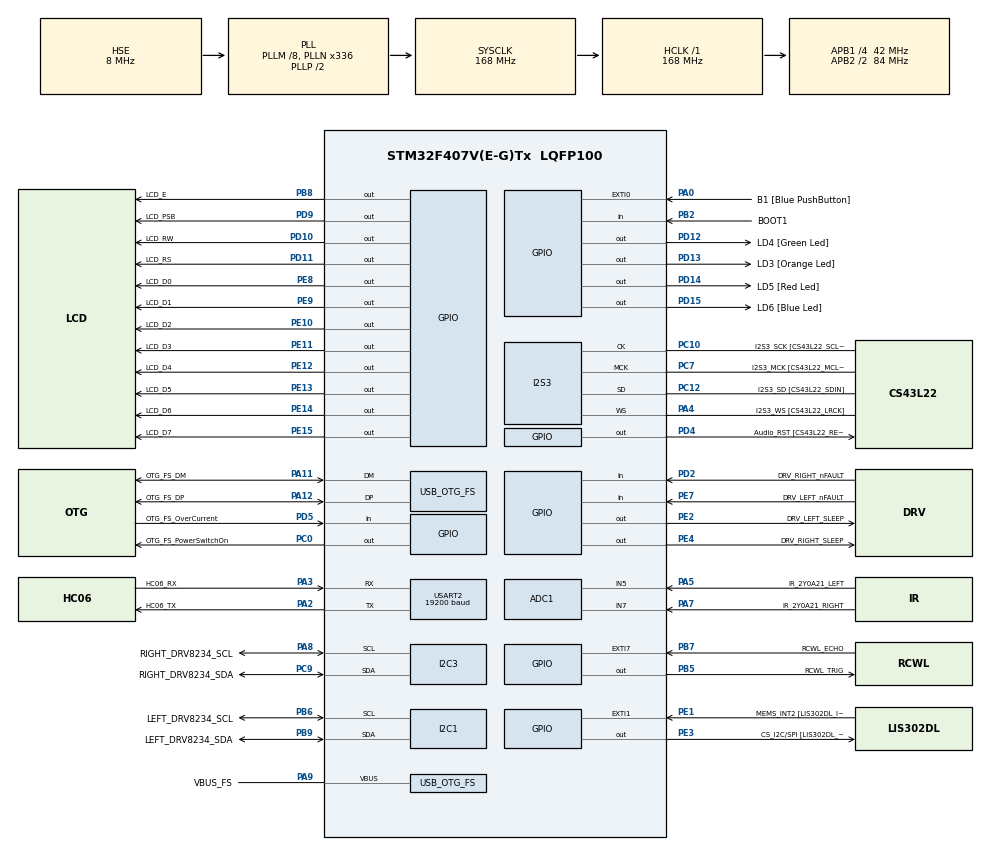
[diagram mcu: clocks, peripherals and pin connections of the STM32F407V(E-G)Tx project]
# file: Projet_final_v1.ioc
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ADC1.Channel-0\#ChannelRegularConversion=ADC_CHANNEL_5
ADC1.Channel-1\#ChannelRegularConversion=ADC_CHANNEL_7
ADC1.NbrOfConversion=2
ADC1.NbrOfConversionFlag=1
ADC1.Rank-0\#ChannelRegularConversion=1
ADC1.Rank-1\#ChannelRegularConversion=2
ADC1.SamplingTime-0\#ChannelRegularConversion=ADC_SAMPLETIME_480CYCLES
ADC1.SamplingTime-1\#ChannelRegularConversion=ADC_SAMPLETIME_480CYCLES
ADC1.master=1
FREERTOS.Tasks01=defaultTask,24,128,StartDefaultTask,Default,NULL,Dynamic,NULL,NULL
FREERTOS.configTOTAL_HEAP_SIZE=16384
FREERTOS.configUSE_NEWLIB_REENTRANT=1
I2S3.AudioFreq-Half_Duplex_Master=I2S_AUDIOFREQ_96K
I2S3.ErrorAudioFreq=-2.34 %
I2S3.ErrorAudioFreq-Half_Duplex_Master=0.8 %
I2S3.FullDuplexMode=I2S_FULLDUPLEXMODE_DISABLE
I2S3.Instance=SPI$Index
I2S3.RealAudioFreq=93.75 KHz
I2S3.RealAudioFreq-Half_Duplex_Master=96.774 KHz
I2S3.VirtualMode=I2S_MODE_MASTER
Mcu.Family=STM32F4
Mcu.Name=STM32F407V(E-G)Tx
Mcu.Package=LQFP100
NVIC.EXTI9_5_IRQn=true\:5\:0\:false\:false\:true\:false\:true\:true\:true
NVIC.OTG_FS_IRQn=true\:5\:0\:false\:false\:true\:true\:true\:true\:true
NVIC.PriorityGroup=NVIC_PRIORITYGROUP_4
NVIC.TIM6_DAC_IRQn=true\:15\:0\:false\:false\:true\:false\:false\:true\:true
NVIC.TimeBase=TIM6_DAC_IRQn
NVIC.TimeBaseIP=TIM6
NVIC.USART2_IRQn=true\:5\:0\:false\:false\:true\:true\:true\:true\:true
PA0-WKUP.GPIO_Label=B1 [Blue PushButton]
PA0-WKUP.GPIO_ModeDefaultEXTI=GPIO_MODE_EVT_RISING
PA0-WKUP.GPIO_PuPd=GPIO_NOPULL
PA0-WKUP.Signal=GPXTI0
PA10.GPIO_Label=OTG_FS_ID
PA10.GPIO_Mode=GPIO_MODE_AF_PP
PA10.GPIO_PuPd=GPIO_NOPULL
PA10.GPIO_Speed=GPIO_SPEED_FREQ_LOW
PA10.Signal=USB_OTG_FS_ID
PA11.GPIO_Label=OTG_FS_DM
PA11.GPIO_Mode=GPIO_MODE_AF_PP
PA11.GPIO_PuPd=GPIO_NOPULL
PA11.GPIO_Speed=GPIO_SPEED_FREQ_LOW
PA11.Mode=Device_Only
PA11.Signal=USB_OTG_FS_DM
PA12.GPIO_Label=OTG_FS_DP
PA12.GPIO_Mode=GPIO_MODE_AF_PP
PA12.GPIO_PuPd=GPIO_NOPULL
PA12.GPIO_Speed=GPIO_SPEED_FREQ_LOW
PA12.Mode=Device_Only
PA12.Signal=USB_OTG_FS_DP
PA13.GPIO_Label=SWDIO
PA13.Mode=Serial_Wire
PA13.Signal=SYS_JTMS-SWDIO
PA14.GPIO_Label=SWCLK
PA14.Mode=Serial_Wire
PA14.Signal=SYS_JTCK-SWCLK
PA2.GPIO_Label=HC06_TX
PA2.Mode=Asynchronous
PA2.Signal=USART2_TX
PA3.GPIO_Label=HC06_RX
PA3.Mode=Asynchronous
PA3.Signal=USART2_RX
PA4.GPIO_Label=I2S3_WS [CS43L22_LRCK]
PA4.GPIO_Mode=GPIO_MODE_AF_PP
PA4.GPIO_PuPd=GPIO_NOPULL
PA4.GPIO_Speed=GPIO_SPEED_FREQ_LOW
PA4.Mode=Half_Duplex_Master
PA4.Signal=I2S3_WS
PA5.GPIO_Label=IR_2Y0A21_LEFT
PA5.Signal=ADCx_IN5
PA7.GPIO_Label=IR_2Y0A21_RIGHT
PA7.Signal=ADCx_IN7
PA8.GPIO_Label=RIGHT_DRV8234_SCL
PA8.GPIO_Pu=GPIO_PULLUP
PA8.GPIO_Speed=GPIO_SPEED_FREQ_LOW
PA8.Mode=I2C
PA8.Signal=I2C3_SCL
PA9.GPIO_Label=VBUS_FS
PA9.GPIO_Mode=GPIO_MODE_INPUT
PA9.GPIO_PuPd=GPIO_NOPULL
PA9.Mode=Activate_VBUS
PA9.Signal=USB_OTG_FS_VBUS
PB10.GPIO_Label=CLK_IN [MP45DT02_CLK]
PB10.GPIO_Mode=GPIO_MODE_AF_PP
PB10.GPIO_PuPd=GPIO_NOPULL
PB10.GPIO_Speed=GPIO_SPEED_FREQ_LOW
PB10.Signal=I2S2_CK
PB2.GPIO_Label=BOOT1
PB2.GPIO_Mode=GPIO_MODE_INPUT
PB2.GPIO_PuPd=GPIO_NOPULL
PB2.Signal=GPIO_Input
PB3.GPIO_Label=SWO
PB3.Signal=SYS_JTDO-SWO
PB5.GPIO_Label=RCWL_TRIG
PB5.Signal=GPIO_Output
PB6.GPIO_Label=LEFT_DRV8234_SCL
PB6.GPIO_Mode=GPIO_MODE_AF_OD
PB6.GPIO_Pu=GPIO_PULLUP
PB6.GPIO_PuPd=GPIO_NOPULL
PB6.GPIO_Speed=GPIO_SPEED_FREQ_LOW
PB6.Mode=I2C
PB6.Signal=I2C1_SCL
PB7.GPIO_Label=RCWL_ECHO
PB7.GPIO_ModeDefaultEXTI=GPIO_MODE_IT_RISING_FALLING
PB7.Signal=GPXTI7
PB8.GPIO_Label=LCD_E
PB8.Signal=GPIO_Output
PB9.GPIO_Label=LEFT_DRV8234_SDA
PB9.GPIO_Mode=GPIO_MODE_AF_OD
PB9.GPIO_Pu=GPIO_PULLUP
PB9.GPIO_PuPd=GPIO_NOPULL
PB9.GPIO_Speed=GPIO_SPEED_FREQ_LOW
PB9.Mode=I2C
PB9.Signal=I2C1_SDA
PC0.GPIO_Label=OTG_FS_PowerSwitchOn
PC0.GPIO_PuPd=GPIO_NOPULL
PC0.GPIO_Speed=GPIO_SPEED_FREQ_LOW
PC0.PinState=GPIO_PIN_SET
PC0.Signal=GPIO_Output
PC10.GPIO_Label=I2S3_SCK [CS43L22_SCLK]
PC10.GPIO_Mode=GPIO_MODE_AF_PP
PC10.GPIO_PuPd=GPIO_NOPULL
PC10.GPIO_Speed=GPIO_SPEED_FREQ_LOW
PC10.Mode=Half_Duplex_Master
PC10.Signal=I2S3_CK
PC12.GPIO_Label=I2S3_SD [CS43L22_SDIN]
PC12.GPIO_Mode=GPIO_MODE_AF_PP
PC12.GPIO_PuPd=GPIO_NOPULL
PC12.GPIO_Speed=GPIO_SPEED_FREQ_LOW
PC12.Mode=Half_Duplex_Master
PC12.Signal=I2S3_SD
PC14-OSC32_IN.GPIO_Label=PC14-OSC32_IN
PC14-OSC32_IN.Mode=LSE-External-Oscillator
PC14-OSC32_IN.Signal=RCC_OSC32_IN
PC15-OSC32_OUT.GPIO_Label=PC15-OSC32_OUT
PC15-OSC32_OUT.Mode=LSE-External-Oscillator
PC15-OSC32_OUT.Signal=RCC_OSC32_OUT
PC3.GPIO_Label=PDM_OUT [MP45DT02_DOUT]
PC3.GPIO_Mode=GPIO_MODE_AF_PP
PC3.GPIO_PuPd=GPIO_NOPULL
PC3.GPIO_Speed=GPIO_SPEED_FREQ_LOW
PC3.Signal=I2S2_SD
PC7.GPIO_Label=I2S3_MCK [CS43L22_MCLK]
PC7.GPIO_Mode=GPIO_MODE_AF_PP
PC7.GPIO_PuPd=GPIO_NOPULL
PC7.GPIO_Speed=GPIO_SPEED_FREQ_LOW
PC7.Mode=Master_Clock_Activated
PC7.Signal=I2S3_MCK
PC9.GPIO_Label=RIGHT_DRV8234_SDA
PC9.GPIO_Pu=GPIO_PULLUP
PC9.GPIO_Speed=GPIO_SPEED_FREQ_LOW
PC9.Mode=I2C
PC9.Signal=I2C3_SDA
PD10.GPIO_Label=LCD_RW
PD10.Signal=GPIO_Output
PD11.GPIO_Label=LCD_RS
PD11.Signal=GPIO_Output
PD12.GPIO_Label=LD4 [Green Led]
PD12.GPIO_PuPd=GPIO_NOPULL
PD12.GPIO_Speed=GPIO_SPEED_FREQ_LOW
PD12.Signal=GPIO_Output
PD13.GPIO_Label=LD3 [Orange Led]
PD13.GPIO_PuPd=GPIO_NOPULL
PD13.GPIO_Speed=GPIO_SPEED_FREQ_LOW
PD13.Signal=GPIO_Output
PD14.GPIO_Label=LD5 [Red Led]
PD14.GPIO_PuPd=GPIO_NOPULL
PD14.GPIO_Speed=GPIO_SPEED_FREQ_LOW
PD14.Signal=GPIO_Output
PD15.GPIO_Label=LD6 [Blue Led]
PD15.GPIO_PuPd=GPIO_NOPULL
PD15.GPIO_Speed=GPIO_SPEED_FREQ_LOW
PD15.Signal=GPIO_Output
PD2.GPIO_Label=DRV_RIGHT_nFAULT
PD2.Signal=GPIO_Input
PD4.GPIO_Label=Audio_RST [CS43L22_RESET]
PD4.GPIO_PuPd=GPIO_NOPULL
PD4.GPIO_Speed=GPIO_SPEED_FREQ_LOW
PD4.Signal=GPIO_Output
PD5.GPIO_Label=OTG_FS_OverCurrent
PD5.GPIO_Mode=GPIO_MODE_INPUT
PD5.GPIO_PuPd=GPIO_NOPULL
PD5.Signal=GPIO_Input
PD9.GPIO_Label=LCD_PSB
PD9.PinState=GPIO_PIN_SET
PD9.Signal=GPIO_Output
PE1.GPIO_Label=MEMS_INT2 [LIS302DL_INT2]
PE1.GPIO_ModeDefaultEXTI=GPIO_MODE_EVT_RISING
PE1.GPIO_PuPd=GPIO_NOPULL
PE1.Signal=GPXTI1
PE10.GPIO_Label=LCD_D2
PE10.Signal=GPIO_Output
PE11.GPIO_Label=LCD_D3
PE11.Signal=GPIO_Output
PE12.GPIO_Label=LCD_D4
PE12.Signal=GPIO_Output
PE13.GPIO_Label=LCD_D5
PE13.Signal=GPIO_Output
PE14.GPIO_Label=LCD_D6
PE14.Signal=GPIO_Output
PE15.GPIO_Label=LCD_D7
PE15.Signal=GPIO_Output
PE2.GPIO_Label=DRV_LEFT_SLEEP
PE2.Signal=GPIO_Output
PE3.GPIO_Label=CS_I2C/SPI [LIS302DL_CS_I2C/SPI]
PE3.GPIO_PuPd=GPIO_NOPULL
PE3.GPIO_Speed=GPIO_SPEED_FREQ_LOW
PE3.Signal=GPIO_Output
PE4.GPIO_Label=DRV_RIGHT_SLEEP
PE4.Signal=GPIO_Output
PE7.GPIO_Label=DRV_LEFT_nFAULT
PE7.Signal=GPIO_Input
PE8.GPIO_Label=LCD_D0
PE8.Signal=GPIO_Output
PE9.GPIO_Label=LCD_D1
PE9.Signal=GPIO_Output
PH0-OSC_IN.GPIO_Label=PH0-OSC_IN
PH0-OSC_IN.Mode=HSE-External-Oscillator
PH0-OSC_IN.Signal=RCC_OSC_IN
PH1-OSC_OUT.GPIO_Label=PH1-OSC_OUT
PH1-OSC_OUT.Mode=HSE-External-Oscillator
PH1-OSC_OUT.Signal=RCC_OSC_OUT
ProjectManager.HeapSize=0x200
ProjectManager.StackSize=0x400
ProjectManager.TargetToolchain=STM32CubeIDE
RCC.48MHZClocksFreq_Value=48000000
RCC.AHBFreq_Value=168000000
RCC.APB1CLKDivider=RCC_HCLK_DIV4
RCC.APB1Freq_Value=42000000
RCC.APB1TimFreq_Value=84000000
RCC.APB2CLKDivider=RCC_HCLK_DIV2
RCC.APB2Freq_Value=84000000
RCC.APB2TimFreq_Value=168000000
RCC.CortexFreq_Value=168000000
RCC.HCLKFreq_Value=168000000
RCC.HSE_VALUE=8000000
RCC.HSI_VALUE=16000000
RCC.PLLM=8
RCC.PLLN=336
RCC.PLLQ=7
RCC.SYSCLKFreq_VALUE=168000000
RCC.SYSCLKSource=RCC_SYSCLKSOURCE_PLLCLK
RCC.VCOOutputFreq_Value=336000000
SH.ADCx_IN5.0=ADC1_IN5,IN5
SH.ADCx_IN7.0=ADC1_IN7,IN7
TIM5.Prescaler=83
USART2.BaudRate=19200
USART2.VirtualMode=VM_ASYNC
USB_DEVICE.CLASS_NAME_FS=CDC
USB_DEVICE.VirtualMode-CDC_FS=Cdc
USB_DEVICE.VirtualModeFS=Cdc_FS
USB_OTG_FS.VirtualMode=Device_Only
VP_FREERTOS_VS_CMSIS_V2.Mode=CMSIS_V2
VP_SYS_VS_tim6.Mode=TIM6
VP_TIM5_VS_ClockSourceINT.Mode=Internal
VP_USB_DEVICE_VS_USB_DEVICE_CDC_FS.Mode=CDC_FS
board=STM32F407G-DISC1

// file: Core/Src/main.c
/* USER CODE BEGIN Header */
/**
  ******************************************************************************
  * @file           : main.c
  * @brief          : Main program body
  ******************************************************************************
  * @attention
  *
  * Copyright (c) 2026 STMicroelectronics.
  * All rights reserved.
  *
  * This software is licensed under terms that can be found in the LICENSE file
  * in the root directory of this software component.
  * If no LICENSE file comes with this software, it is provided AS-IS.
  *
  ******************************************************************************
  */
/* USER CODE END Header */
#include "main.h"
#include "cmsis_os.h"
#include "usb_device.h"

/* USER CODE BEGIN Includes */
#include "vcp.h"
#include "vehicle_motors.h"
#include "uart_frame_rx.h"
#include "vehicle_tasks.h"
#include "rcwl1601.h"

/* USER CODE END Includes */

ADC_HandleTypeDef hadc1;

I2C_HandleTypeDef hi2c1;
I2C_HandleTypeDef hi2c3;

I2S_HandleTypeDef hi2s3;

TIM_HandleTypeDef htim5;

UART_HandleTypeDef huart2;

/* Definitions for defaultTask */
osThreadId_t defaultTaskHandle;
const osThreadAttr_t defaultTask_attributes = {
  .name = "defaultTask",
  .stack_size = 128 * 4,
  .priority = (osPriority_t) osPriorityNormal,
};
/* USER CODE BEGIN PV */

extern RCWL1601_Handle_t hrcwl;		// pour le ultrason

/* USER CODE END PV */

void SystemClock_Config(void);
static void MX_GPIO_Init(void);
static void MX_I2C1_Init(void);
static void MX_I2S3_Init(void);
static void MX_USART2_UART_Init(void);
static void MX_I2C3_Init(void);
static void MX_ADC1_Init(void);
static void MX_TIM5_Init(void);
void StartDefaultTask(void *argument);

int main(void)
{

  /* MCU Configuration--------------------------------------------------------*/

  /* Reset of all peripherals, Initializes the Flash interface and the Systick. */
  HAL_Init();

  /* Configure the system clock */
  SystemClock_Config();

  /* Initialize all configured peripherals */
  MX_GPIO_Init();
  MX_I2C1_Init();
  MX_I2S3_Init();
  MX_USART2_UART_Init();
  MX_I2C3_Init();
  MX_ADC1_Init();
  MX_TIM5_Init();
  /* USER CODE BEGIN 2 */
  HAL_Delay(1000);

  /* Si tu veux garder le VCP/USB actif pour le debug */
  MX_USB_DEVICE_Init();

  VehicleMotors_Init();
  VehicleMotors_AllCoast();

  UartFrameRx_Start();

  /* USER CODE END 2 */

  /* Init scheduler */
  osKernelInitialize();

  /* Create the thread(s) */
  /* creation of defaultTask */
  defaultTaskHandle = osThreadNew(StartDefaultTask, NULL, &defaultTask_attributes);

  /* USER CODE BEGIN RTOS_THREADS */
  /* add threads, ... */

  VehicleTasks_Create();

  /* USER CODE END RTOS_THREADS */

  /* Start scheduler */
  osKernelStart();

  /* We should never get here as control is now taken by the scheduler */

  /* Infinite loop */
  /* USER CODE BEGIN WHILE */
  while (1)
  {
	  //allo
    /* USER CODE END WHILE */

  }
}

void SystemClock_Config(void)
{
  RCC_OscInitTypeDef RCC_OscInitStruct = {0};
  RCC_ClkInitTypeDef RCC_ClkInitStruct = {0};

  /** Configure the main internal regulator output voltage
  */
  __HAL_RCC_PWR_CLK_ENABLE();
  __HAL_PWR_VOLTAGESCALING_CONFIG(PWR_REGULATOR_VOLTAGE_SCALE1);

  /** Initializes the RCC Oscillators according to the specified parameters
  * in the RCC_OscInitTypeDef structure.
  */
  RCC_OscInitStruct.OscillatorType = RCC_OSCILLATORTYPE_HSE;
  RCC_OscInitStruct.HSEState = RCC_HSE_ON;
  RCC_OscInitStruct.PLL.PLLState = RCC_PLL_ON;
  RCC_OscInitStruct.PLL.PLLSource = RCC_PLLSOURCE_HSE;
  RCC_OscInitStruct.PLL.PLLM = 8;
  RCC_OscInitStruct.PLL.PLLN = 336;
  RCC_OscInitStruct.PLL.PLLP = RCC_PLLP_DIV2;
  RCC_OscInitStruct.PLL.PLLQ = 7;
  if (HAL_RCC_OscConfig(&RCC_OscInitStruct) != HAL_OK)
  {
    Error_Handler();
  }

  /** Initializes the CPU, AHB and APB buses clocks
  */
  RCC_ClkInitStruct.ClockType = RCC_CLOCKTYPE_HCLK|RCC_CLOCKTYPE_SYSCLK
                              |RCC_CLOCKTYPE_PCLK1|RCC_CLOCKTYPE_PCLK2;
  RCC_ClkInitStruct.SYSCLKSource = RCC_SYSCLKSOURCE_PLLCLK;
  RCC_ClkInitStruct.AHBCLKDivider = RCC_SYSCLK_DIV1;
  RCC_ClkInitStruct.APB1CLKDivider = RCC_HCLK_DIV4;
  RCC_ClkInitStruct.APB2CLKDivider = RCC_HCLK_DIV2;

  if (HAL_RCC_ClockConfig(&RCC_ClkInitStruct, FLASH_LATENCY_5) != HAL_OK)
  {
    Error_Handler();
  }
}

static void MX_ADC1_Init(void)
{

  ADC_ChannelConfTypeDef sConfig = {0};

  /** Configure the global features of the ADC (Clock, Resolution, Data Alignment and number of conversion)
  */
  hadc1.Instance = ADC1;
  hadc1.Init.ClockPrescaler = ADC_CLOCK_SYNC_PCLK_DIV4;
  hadc1.Init.Resolution = ADC_RESOLUTION_12B;
  hadc1.Init.ScanConvMode = ENABLE;
  hadc1.Init.ContinuousConvMode = DISABLE;
  hadc1.Init.DiscontinuousConvMode = DISABLE;
  hadc1.Init.ExternalTrigConvEdge = ADC_EXTERNALTRIGCONVEDGE_NONE;
  hadc1.Init.ExternalTrigConv = ADC_SOFTWARE_START;
  hadc1.Init.DataAlign = ADC_DATAALIGN_RIGHT;
  hadc1.Init.NbrOfConversion = 2;
  hadc1.Init.DMAContinuousRequests = DISABLE;
  hadc1.Init.EOCSelection = ADC_EOC_SINGLE_CONV;
  if (HAL_ADC_Init(&hadc1) != HAL_OK)
  {
    Error_Handler();
  }

  /** Configure for the selected ADC regular channel its corresponding rank in the sequencer and its sample time.
  */
  sConfig.Channel = ADC_CHANNEL_5;
  sConfig.Rank = 1;
  sConfig.SamplingTime = ADC_SAMPLETIME_480CYCLES;
  if (HAL_ADC_ConfigChannel(&hadc1, &sConfig) != HAL_OK)
  {
    Error_Handler();
  }

  /** Configure for the selected ADC regular channel its corresponding rank in the sequencer and its sample time.
  */
  sConfig.Channel = ADC_CHANNEL_7;
  sConfig.Rank = 2;
  if (HAL_ADC_ConfigChannel(&hadc1, &sConfig) != HAL_OK)
  {
    Error_Handler();
  }

}

static void MX_I2C1_Init(void)
{

  hi2c1.Instance = I2C1;
  hi2c1.Init.ClockSpeed = 100000;
  hi2c1.Init.DutyCycle = I2C_DUTYCYCLE_2;
  hi2c1.Init.OwnAddress1 = 0;
  hi2c1.Init.AddressingMode = I2C_ADDRESSINGMODE_7BIT;
  hi2c1.Init.DualAddressMode = I2C_DUALADDRESS_DISABLE;
  hi2c1.Init.OwnAddress2 = 0;
  hi2c1.Init.GeneralCallMode = I2C_GENERALCALL_DISABLE;
  hi2c1.Init.NoStretchMode = I2C_NOSTRETCH_DISABLE;
  if (HAL_I2C_Init(&hi2c1) != HAL_OK)
  {
    Error_Handler();
  }

}

static void MX_I2C3_Init(void)
{

  hi2c3.Instance = I2C3;
  hi2c3.Init.ClockSpeed = 100000;
  hi2c3.Init.DutyCycle = I2C_DUTYCYCLE_2;
  hi2c3.Init.OwnAddress1 = 0;
  hi2c3.Init.AddressingMode = I2C_ADDRESSINGMODE_7BIT;
  hi2c3.Init.DualAddressMode = I2C_DUALADDRESS_DISABLE;
  hi2c3.Init.OwnAddress2 = 0;
  hi2c3.Init.GeneralCallMode = I2C_GENERALCALL_DISABLE;
  hi2c3.Init.NoStretchMode = I2C_NOSTRETCH_DISABLE;
  if (HAL_I2C_Init(&hi2c3) != HAL_OK)
  {
    Error_Handler();
  }

}

static void MX_I2S3_Init(void)
{

  hi2s3.Instance = SPI3;
  hi2s3.Init.Mode = I2S_MODE_MASTER_TX;
  hi2s3.Init.Standard = I2S_STANDARD_PHILIPS;
  hi2s3.Init.DataFormat = I2S_DATAFORMAT_16B;
  hi2s3.Init.MCLKOutput = I2S_MCLKOUTPUT_ENABLE;
  hi2s3.Init.AudioFreq = I2S_AUDIOFREQ_96K;
  hi2s3.Init.CPOL = I2S_CPOL_LOW;
  hi2s3.Init.ClockSource = I2S_CLOCK_PLL;
  hi2s3.Init.FullDuplexMode = I2S_FULLDUPLEXMODE_DISABLE;
  if (HAL_I2S_Init(&hi2s3) != HAL_OK)
  {
    Error_Handler();
  }

}

static void MX_TIM5_Init(void)
{

  TIM_ClockConfigTypeDef sClockSourceConfig = {0};
  TIM_MasterConfigTypeDef sMasterConfig = {0};

  htim5.Instance = TIM5;
  htim5.Init.Prescaler = 83;
  htim5.Init.CounterMode = TIM_COUNTERMODE_UP;
  htim5.Init.Period = 4294967295;
  htim5.Init.ClockDivision = TIM_CLOCKDIVISION_DIV1;
  htim5.Init.AutoReloadPreload = TIM_AUTORELOAD_PRELOAD_DISABLE;
  if (HAL_TIM_Base_Init(&htim5) != HAL_OK)
  {
    Error_Handler();
  }
  sClockSourceConfig.ClockSource = TIM_CLOCKSOURCE_INTERNAL;
  if (HAL_TIM_ConfigClockSource(&htim5, &sClockSourceConfig) != HAL_OK)
  {
    Error_Handler();
  }
  sMasterConfig.MasterOutputTrigger = TIM_TRGO_RESET;
  sMasterConfig.MasterSlaveMode = TIM_MASTERSLAVEMODE_DISABLE;
  if (HAL_TIMEx_MasterConfigSynchronization(&htim5, &sMasterConfig) != HAL_OK)
  {
    Error_Handler();
  }

}

static void MX_USART2_UART_Init(void)
{

  huart2.Instance = USART2;
  huart2.Init.BaudRate = 19200;
  huart2.Init.WordLength = UART_WORDLENGTH_8B;
  huart2.Init.StopBits = UART_STOPBITS_1;
  huart2.Init.Parity = UART_PARITY_NONE;
  huart2.Init.Mode = UART_MODE_TX_RX;
  huart2.Init.HwFlowCtl = UART_HWCONTROL_NONE;
  huart2.Init.OverSampling = UART_OVERSAMPLING_16;
  if (HAL_UART_Init(&huart2) != HAL_OK)
  {
    Error_Handler();
  }

}

static void MX_GPIO_Init(void)
{
  GPIO_InitTypeDef GPIO_InitStruct = {0};

  /* GPIO Ports Clock Enable */
  __HAL_RCC_GPIOE_CLK_ENABLE();
  __HAL_RCC_GPIOC_CLK_ENABLE();
  __HAL_RCC_GPIOH_CLK_ENABLE();
  __HAL_RCC_GPIOA_CLK_ENABLE();
  __HAL_RCC_GPIOB_CLK_ENABLE();
  __HAL_RCC_GPIOD_CLK_ENABLE();

  /*Configure GPIO pin Output Level */
  HAL_GPIO_WritePin(GPIOE, DRV_LEFT_SLEEP_Pin|CS_I2C_SPI_Pin|DRV_RIGHT_SLEEP_Pin|LCD_D0_Pin
                          |LCD_D1_Pin|LCD_D2_Pin|LCD_D3_Pin|LCD_D4_Pin
                          |LCD_D5_Pin|LCD_D6_Pin|LCD_D7_Pin, GPIO_PIN_RESET);

  /*Configure GPIO pin Output Level */
  HAL_GPIO_WritePin(OTG_FS_PowerSwitchOn_GPIO_Port, OTG_FS_PowerSwitchOn_Pin, GPIO_PIN_SET);

  /*Configure GPIO pin Output Level */
  HAL_GPIO_WritePin(LCD_PSB_GPIO_Port, LCD_PSB_Pin, GPIO_PIN_SET);

  /*Configure GPIO pin Output Level */
  HAL_GPIO_WritePin(GPIOD, LCD_RW_Pin|LCD_RS_Pin|LD4_Pin|LD3_Pin
                          |LD5_Pin|LD6_Pin|Audio_RST_Pin, GPIO_PIN_RESET);

  /*Configure GPIO pin Output Level */
  HAL_GPIO_WritePin(GPIOB, RCWL_TRIG_Pin|LCD_E_Pin, GPIO_PIN_RESET);

  /*Configure GPIO pins : DRV_LEFT_SLEEP_Pin CS_I2C_SPI_Pin DRV_RIGHT_SLEEP_Pin LCD_D0_Pin
                           LCD_D1_Pin LCD_D2_Pin LCD_D3_Pin LCD_D4_Pin
                           LCD_D5_Pin LCD_D6_Pin LCD_D7_Pin */
  GPIO_InitStruct.Pin = DRV_LEFT_SLEEP_Pin|CS_I2C_SPI_Pin|DRV_RIGHT_SLEEP_Pin|LCD_D0_Pin
                          |LCD_D1_Pin|LCD_D2_Pin|LCD_D3_Pin|LCD_D4_Pin
                          |LCD_D5_Pin|LCD_D6_Pin|LCD_D7_Pin;
  GPIO_InitStruct.Mode = GPIO_MODE_OUTPUT_PP;
  GPIO_InitStruct.Pull = GPIO_NOPULL;
  GPIO_InitStruct.Speed = GPIO_SPEED_FREQ_LOW;
  HAL_GPIO_Init(GPIOE, &GPIO_InitStruct);

  /*Configure GPIO pin : OTG_FS_PowerSwitchOn_Pin */
  GPIO_InitStruct.Pin = OTG_FS_PowerSwitchOn_Pin;
  GPIO_InitStruct.Mode = GPIO_MODE_OUTPUT_PP;
  GPIO_InitStruct.Pull = GPIO_NOPULL;
  GPIO_InitStruct.Speed = GPIO_SPEED_FREQ_LOW;
  HAL_GPIO_Init(OTG_FS_PowerSwitchOn_GPIO_Port, &GPIO_InitStruct);

  /*Configure GPIO pin : PDM_OUT_Pin */
  GPIO_InitStruct.Pin = PDM_OUT_Pin;
  GPIO_InitStruct.Mode = GPIO_MODE_AF_PP;
  GPIO_InitStruct.Pull = GPIO_NOPULL;
  GPIO_InitStruct.Speed = GPIO_SPEED_FREQ_LOW;
  GPIO_InitStruct.Alternate = GPIO_AF5_SPI2;
  HAL_GPIO_Init(PDM_OUT_GPIO_Port, &GPIO_InitStruct);

  /*Configure GPIO pin : B1_Pin */
  GPIO_InitStruct.Pin = B1_Pin;
  GPIO_InitStruct.Mode = GPIO_MODE_EVT_RISING;
  GPIO_InitStruct.Pull = GPIO_NOPULL;
  HAL_GPIO_Init(B1_GPIO_Port, &GPIO_InitStruct);

  /*Configure GPIO pin : BOOT1_Pin */
  GPIO_InitStruct.Pin = BOOT1_Pin;
  GPIO_InitStruct.Mode = GPIO_MODE_INPUT;
  GPIO_InitStruct.Pull = GPIO_NOPULL;
  HAL_GPIO_Init(BOOT1_GPIO_Port, &GPIO_InitStruct);

  /*Configure GPIO pin : DRV_LEFT_nFAULT_Pin */
  GPIO_InitStruct.Pin = DRV_LEFT_nFAULT_Pin;
  GPIO_InitStruct.Mode = GPIO_MODE_INPUT;
  GPIO_InitStruct.Pull = GPIO_NOPULL;
  HAL_GPIO_Init(DRV_LEFT_nFAULT_GPIO_Port, &GPIO_InitStruct);

  /*Configure GPIO pin : CLK_IN_Pin */
  GPIO_InitStruct.Pin = CLK_IN_Pin;
  GPIO_InitStruct.Mode = GPIO_MODE_AF_PP;
  GPIO_InitStruct.Pull = GPIO_NOPULL;
  GPIO_InitStruct.Speed = GPIO_SPEED_FREQ_LOW;
  GPIO_InitStruct.Alternate = GPIO_AF5_SPI2;
  HAL_GPIO_Init(CLK_IN_GPIO_Port, &GPIO_InitStruct);

  /*Configure GPIO pins : LCD_PSB_Pin LCD_RW_Pin LCD_RS_Pin LD4_Pin
                           LD3_Pin LD5_Pin LD6_Pin Audio_RST_Pin */
  GPIO_InitStruct.Pin = LCD_PSB_Pin|LCD_RW_Pin|LCD_RS_Pin|LD4_Pin
                          |LD3_Pin|LD5_Pin|LD6_Pin|Audio_RST_Pin;
  GPIO_InitStruct.Mode = GPIO_MODE_OUTPUT_PP;
  GPIO_InitStruct.Pull = GPIO_NOPULL;
  GPIO_InitStruct.Speed = GPIO_SPEED_FREQ_LOW;
  HAL_GPIO_Init(GPIOD, &GPIO_InitStruct);

  /*Configure GPIO pins : DRV_RIGHT_nFAULT_Pin OTG_FS_OverCurrent_Pin */
  GPIO_InitStruct.Pin = DRV_RIGHT_nFAULT_Pin|OTG_FS_OverCurrent_Pin;
  GPIO_InitStruct.Mode = GPIO_MODE_INPUT;
  GPIO_InitStruct.Pull = GPIO_NOPULL;
  HAL_GPIO_Init(GPIOD, &GPIO_InitStruct);

  /*Configure GPIO pins : RCWL_TRIG_Pin LCD_E_Pin */
  GPIO_InitStruct.Pin = RCWL_TRIG_Pin|LCD_E_Pin;
  GPIO_InitStruct.Mode = GPIO_MODE_OUTPUT_PP;
  GPIO_InitStruct.Pull = GPIO_NOPULL;
  GPIO_InitStruct.Speed = GPIO_SPEED_FREQ_LOW;
  HAL_GPIO_Init(GPIOB, &GPIO_InitStruct);

  /*Configure GPIO pin : RCWL_ECHO_Pin */
  GPIO_InitStruct.Pin = RCWL_ECHO_Pin;
  GPIO_InitStruct.Mode = GPIO_MODE_IT_RISING_FALLING;
  GPIO_InitStruct.Pull = GPIO_NOPULL;
  HAL_GPIO_Init(RCWL_ECHO_GPIO_Port, &GPIO_InitStruct);

  /*Configure GPIO pin : MEMS_INT2_Pin */
  GPIO_InitStruct.Pin = MEMS_INT2_Pin;
  GPIO_InitStruct.Mode = GPIO_MODE_EVT_RISING;
  GPIO_InitStruct.Pull = GPIO_NOPULL;
  HAL_GPIO_Init(MEMS_INT2_GPIO_Port, &GPIO_InitStruct);

  /* EXTI interrupt init*/
  HAL_NVIC_SetPriority(EXTI9_5_IRQn, 5, 0);
  HAL_NVIC_EnableIRQ(EXTI9_5_IRQn);

}

/* USER CODE BEGIN 4 */

void HAL_UART_RxCpltCallback(UART_HandleTypeDef *huart)
{
    if (huart->Instance == USART2)
    {
        UartFrameRx_RxCpltCallback();
    }
}

void HAL_UART_ErrorCallback(UART_HandleTypeDef *huart)
{
    if (huart->Instance == USART2)
    {
        UartFrameRx_ErrorCallback();
    }
}

void HAL_GPIO_EXTI_Callback(uint16_t GPIO_Pin)
{
    RCWL1601_EXTI_Callback(&hrcwl, GPIO_Pin);
}

/* USER CODE END 4 */

void StartDefaultTask(void *argument)
{
  /* init code for USB_DEVICE */
  MX_USB_DEVICE_Init();
  for(;;)
  {
    osDelay(1);
  }
}

void HAL_TIM_PeriodElapsedCallback(TIM_HandleTypeDef *htim)
{
  if (htim->Instance == TIM6)
  {
    HAL_IncTick();
  }
}

void Error_Handler(void)
{
  __disable_irq();
  while (1)
  {
  }
}
